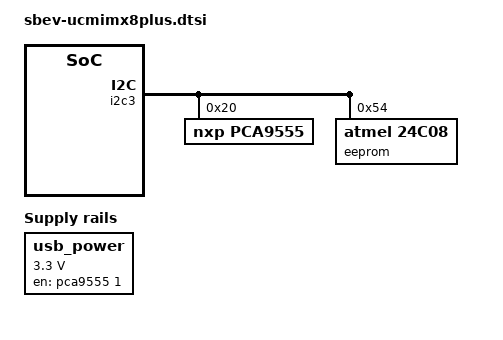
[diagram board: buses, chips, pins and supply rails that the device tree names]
// SPDX-License-Identifier: (GPL-2.0+ OR MIT)
/*
 * Copyright 2026 CompuLab Ltd.
 */

&{/} {
	usb_power: regulator-usbpower {
		compatible = "regulator-fixed";
		regulator-name = "usb-power-en";
		regulator-min-microvolt = <3300000>;
		regulator-max-microvolt = <3300000>;
		gpio = <&pca9555 1 GPIO_ACTIVE_HIGH>;
		enable-active-high;
		regulator-always-on;
	};

	csi_mclk_helper {
		compatible = "virtual,csi-mclk-helper";
		pinctrl-names = "default";
		pinctrl-0 = <&pinctrl_csi_mclk>;
		status = "okay";
	};
};

&i2c3 {
	#address-cells = <1>;
	#size-cells = <0>;
	status = "okay";

	pca9555:pca9555@20 {
		compatible = "nxp,pca9555";
		gpio-controller;
		#gpio-cells = <2>;
		reg = <0x20>;
		status = "okay";
	};

	eeprom@54 {
		compatible = "atmel,24c08";
		reg = <0x54>;
		pagesize = <16>;
		status = "okay";
	};
};
